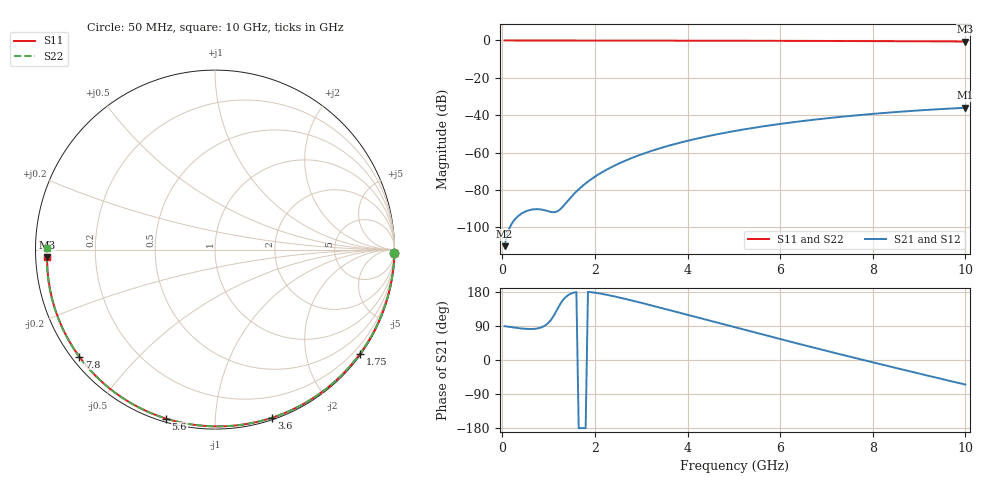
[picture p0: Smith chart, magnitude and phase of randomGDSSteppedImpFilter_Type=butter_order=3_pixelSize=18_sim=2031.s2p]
! freq	dB(S11)	phase(S11)	dB(S12)	phase(S12)
!  dB(S21)	phase(S21)	dB(S22)	phase(S22)
!S-par simulation data
#  GHz  S  DB  R 50
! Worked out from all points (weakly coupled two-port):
!   200 points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, 50 MHz to 10 GHz, reference 50 ohm
!   highest |S21| = -36.03 dB at 10 GHz (marker M1); lowest = -110.1 dB at 50 MHz (marker M2)
!   lowest |S11| = -0.6 dB at 10 GHz (marker M3), VSWR 30.40, Z = 1.65 - j1.08 ohm
!   |S11| at or under -10 dB: nowhere
!   |S22| runs from -0.6 to 0.0 dB; largest |S21 - S12| = 0
!   S11 on the Smith chart (normalised r, x): 50 MHz: open; 1.75 GHz: 0.03, -3.09; 3.6 GHz: 0.02, -1.39; 5.6 GHz: 0.02, -0.75; 7.8 GHz: 0.02, -0.35; 10 GHz: 0.03, -0.02
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0.05  -0.00 -1.0  -110.07 89.2  -110.07 89.2  -0.00 -1.1
0.4  -0.01 -8.3  -92.89 83.4  -92.89 83.4  -0.01 -8.4
0.8  -0.02 -16.6  -90.34 84.4  -90.34 84.4  -0.02 -16.8
1.6  -0.04 -32.8  -80.83 179.3  -80.83 179.3  -0.04 -33.1
1.65  -0.04 -33.8  -79.65 -180.0  -79.65 -180.0  -0.04 -34.2
1.75  -0.05 -35.8  -77.47 -179.6  -77.47 -179.6  -0.05 -36.2
2.05  -0.05 -41.8  -72.09 176.7  -72.09 176.7  -0.05 -42.2
2.25  -0.06 -45.7  -69.17 172.3  -69.17 172.3  -0.06 -46.1
2.45  -0.06 -49.6  -66.64 167.0  -66.64 167.0  -0.06 -50.1
2.9  -0.08 -58.2  -61.90 153.9  -61.90 153.9  -0.08 -58.8
3.4  -0.09 -67.6  -57.71 138.3  -57.71 138.3  -0.09 -68.3
3.6  -0.10 -71.3  -56.27 132.0  -56.27 132.0  -0.10 -72.0
4.3  -0.12 -83.9  -51.96 109.5  -51.96 109.5  -0.12 -84.7
5.05  -0.15 -96.9  -48.31 85.4  -48.31 85.4  -0.15 -97.9
5.6  -0.17 -106.2  -46.08 67.9  -46.08 67.9  -0.18 -107.3
6.15  -0.21 -115.3  -44.16 50.5  -44.16 50.5  -0.21 -116.6
6.7  -0.24 -124.2  -42.49 33.4  -42.49 33.4  -0.24 -125.6
7.25  -0.28 -133.0  -41.02 16.6  -41.02 16.6  -0.29 -134.6
7.8  -0.33 -141.8  -39.72 -0.1  -39.72 -0.1  -0.33 -143.6
8.35  -0.38 -150.5  -38.59 -16.6  -38.59 -16.6  -0.39 -152.6
9.2  -0.47 -164.2  -37.11 -41.7  -37.11 -41.7  -0.48 -166.8
10  -0.57 -177.5  -36.03 -64.8  -36.03 -64.8  -0.58 179.4
